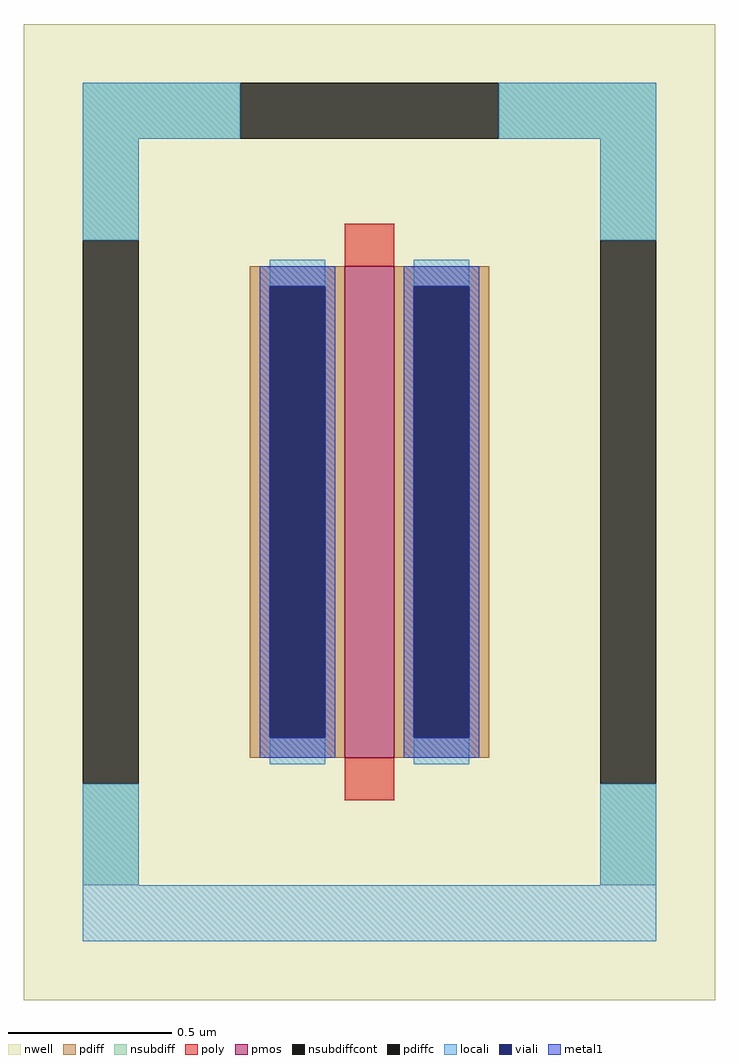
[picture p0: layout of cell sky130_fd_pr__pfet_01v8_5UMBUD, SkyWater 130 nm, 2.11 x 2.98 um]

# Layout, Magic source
magic
tech sky130A
magscale 1 2
<< nwell >>
rect -211 -298 211 298
<< pmos >>
rect -15 -150 15 150
<< pdiff >>
rect -73 138 -15 150
rect -73 -138 -61 138
rect -27 -138 -15 138
rect -73 -150 -15 -138
rect 15 138 73 150
rect 15 -138 27 138
rect 61 -138 73 138
rect 15 -150 73 -138
<< pdiffc >>
rect -61 -138 -27 138
rect 27 -138 61 138
<< nsubdiff >>
rect -175 228 -79 262
rect 79 228 175 262
rect -175 166 -141 228
rect 141 166 175 228
rect -175 -228 -141 -166
rect 141 -228 175 -166
<< nsubdiffcont >>
rect -79 228 79 262
rect -175 -166 -141 166
rect 141 -166 175 166
<< poly >>
rect -15 150 15 176
rect -15 -176 15 -150
<< locali >>
rect -175 228 -79 262
rect 79 228 175 262
rect -175 166 -141 228
rect 141 166 175 228
rect -61 138 -27 154
rect -61 -154 -27 -138
rect 27 138 61 154
rect 27 -154 61 -138
rect -175 -228 -141 -166
rect 141 -228 175 -166
rect -175 -262 175 -228
<< viali >>
rect -61 -138 -27 138
rect 27 -138 61 138
<< metal1 >>
rect -67 138 -21 150
rect -67 -138 -61 138
rect -27 -138 -21 138
rect -67 -150 -21 -138
rect 21 138 67 150
rect 21 -138 27 138
rect 61 -138 67 138
rect 21 -150 67 -138
<< properties >>
string gencell sky130_fd_pr__pfet_01v8
string FIXED_BBOX -158 -245 158 245
string parameters w 1.5 l 0.15 m 1 nf 1 diffcov 100 polycov 100 guard 1 glc 1 grc 1 gtc 1 gbc 0 tbcov 100 rlcov 100 topc 0 botc 0 poverlap 0 doverlap 1 lmin 0.15 wmin 0.42 compatible {sky130_fd_pr__pfet_01v8  sky130_fd_pr__pfet_01v8_lvt sky130_fd_pr__pfet_01v8_hvt  sky130_fd_pr__pfet_g5v0d10v5} full_metal 1 viagl 0 viagr 0 viagt 0 viagb 0 viagate 100 viadrn 100 viasrc 100
string library sky130
<< end >>
